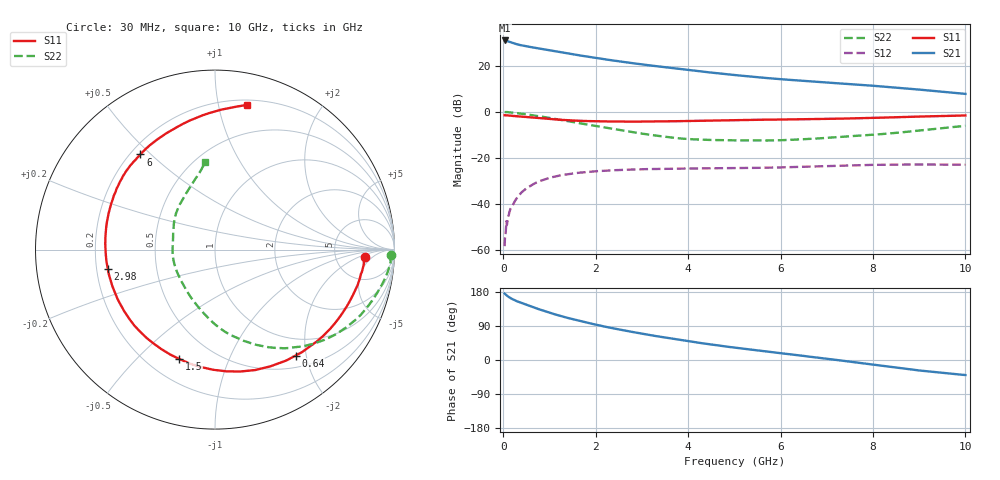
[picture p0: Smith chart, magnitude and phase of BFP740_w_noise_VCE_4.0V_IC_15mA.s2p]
! Infineon Technologies  Discrete & RF Semiconductors
! BFP740
! VCE =  4.0 V,  IC =  15 mA
! Common Emitter S-Parameters:  Jan 2016
# GHz  S  MA  R  50
!  f  S11  S21  S12  S22
! GHz  MAG  ANG  MAG  ANG  MAG  ANG  MAG  ANG
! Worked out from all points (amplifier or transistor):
!   229 points, 30 MHz to 10 GHz, reference 50 ohm
!   highest |S21| = 30.9 dB at 30 MHz (marker M1)
!   |S21| within 3 dB of that: start of sweep to 631.9 MHz
!   unconditionally stable (mu >= 1): 6.799 GHz to end of sweep
!   at 280 MHz: K = 0.25, MSG = 33.6 dB, |S12| = -37.9 dB
!   at 1.78 GHz: K = 0.39, MSG = 25.2 dB, |S12| = -26.3 dB
!   at 10 GHz: K = 1.03, MAG = 14.3 dB, |S12| = -23.0 dB
!   lowest NFmin = 0.59 dB at 450 MHz
!   S11 on the Smith chart (normalised r, x): 30 MHz: 10, -3; 640 MHz: 0.69, -1.81; 1.5 GHz: 0.33, -0.67; 2.98 GHz: 0.25, -0.08; 6 GHz: 0.24, +0.46; 10 GHz: 0.24, +1.22
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0.03  0.8345 -2.7  35.1 175.3  0.0012 44.8  0.9808 -1.7
0.05  0.8322 -4.5  34.97 173.3  0.0021 83.3  0.979 -3.0
0.08  0.8294 -7.5  34.19 169.9  0.0035 82.3  0.9785 -5.0
0.12  0.8227 -11.3  33.17 166.2  0.0057 80.8  0.9697 -7.5
0.2  0.8093 -18.2  31.08 160.4  0.0091 76.6  0.9501 -11.9
0.36  0.7849 -31.1  27.96 152.0  0.016 71.1  0.911 -19.9
0.64  0.7418 -52.7  24.77 139.6  0.0262 61.6  0.8362 -32.7
0.8  0.7202 -64.5  23.27 132.8  0.0313 56.2  0.7905 -39.5
1  0.6937 -78.3  21.5 124.9  0.0364 50.0  0.7303 -47.5
1.22  0.6671 -91.9  19.64 116.8  0.0409 44.1  0.6677 -55.4
1.5  0.6414 -108.0  17.63 107.6  0.0453 37.6  0.5953 -64.3
1.7  0.6299 -118.3  16.35 101.7  0.0479 33.9  0.5498 -70.1
2  0.6191 -132.6  14.7 93.3  0.0507 28.7  0.4891 -78.9
2.3  0.6118 -145.3  13.23 85.5  0.0527 24.5  0.4346 -87.0
2.98  0.6069 -169.9  10.68 70.0  0.0559 16.8  0.3358 -105.5
3.4  0.6122 177.0  9.453 61.3  0.0571 13.1  0.2935 -118.4
4.1  0.6286 158.8  7.808 47.9  0.0585 8.1  0.2508 -142.2
5.1  0.658 139.8  6.101 31.2  0.0596 3.3  0.2378 -171.0
6  0.6734 128.1  5.069 18.0  0.0616 0.8  0.2394 168.1
6.8  0.6919 118.2  4.423 6.3  0.065 -2.5  0.2614 151.9
8.4  0.7512 95.3  3.388 -18.5  0.0706 -11.9  0.3386 121.0
10  0.8256 77.5  2.428 -39.7  0.0704 -20.2  0.4904 96.4
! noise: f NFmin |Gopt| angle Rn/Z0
0.45  0.59  0.08  4  0.17
0.9  0.6  0.07  10  0.17
1.5  0.62  0.07  23  0.16
1.9  0.64  0.07  39  0.16
2.4  0.67  0.07  47  0.15
3.5  0.78  0.06  54  0.14
5.5  0.94  0.15  229  0.13
10  1.33  0.49  -69  0.17
